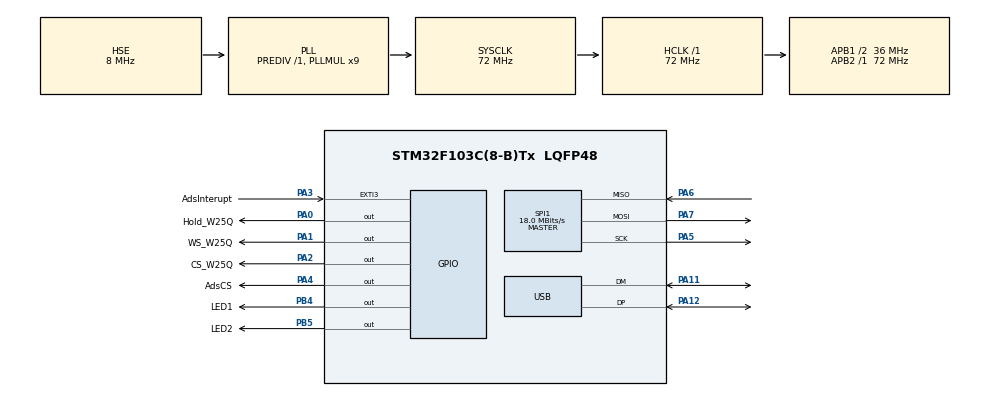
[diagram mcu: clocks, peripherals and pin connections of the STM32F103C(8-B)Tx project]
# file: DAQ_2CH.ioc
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ADC1.Channel-0\#ChannelRegularConversion=ADC_CHANNEL_TEMPSENSOR
ADC1.NbrOfConversionFlag=1
ADC1.Rank-0\#ChannelRegularConversion=1
ADC1.SamplingTime-0\#ChannelRegularConversion=ADC_SAMPLETIME_1CYCLE_5
ADC1.master=1
Dma.Request0=SPI1_TX
Dma.SPI1_TX.0.Direction=DMA_MEMORY_TO_PERIPH
Dma.SPI1_TX.0.Instance=DMA1_Channel3
Dma.SPI1_TX.0.MemDataAlignment=DMA_MDATAALIGN_BYTE
Dma.SPI1_TX.0.MemInc=DMA_MINC_ENABLE
Dma.SPI1_TX.0.Mode=DMA_NORMAL
Dma.SPI1_TX.0.PeriphDataAlignment=DMA_PDATAALIGN_BYTE
Dma.SPI1_TX.0.PeriphInc=DMA_PINC_DISABLE
Dma.SPI1_TX.0.Priority=DMA_PRIORITY_LOW
FATFS._FS_TINY=0
FATFS._MAX_SS=4096
Mcu.Family=STM32F1
Mcu.Name=STM32F103C(8-B)Tx
Mcu.Package=LQFP48
NVIC.DMA1_Channel3_IRQn=true\:0\:0\:false\:false\:true\:false\:true\:true
NVIC.PriorityGroup=NVIC_PRIORITYGROUP_4
NVIC.USB_LP_CAN1_RX0_IRQn=true\:0\:0\:false\:false\:true\:false\:true\:true
PA0-WKUP.GPIO_Label=Hold_W25Q
PA0-WKUP.PinState=GPIO_PIN_SET
PA0-WKUP.Signal=GPIO_Output
PA1.GPIO_Label=WS_W25Q
PA1.PinState=GPIO_PIN_SET
PA1.Signal=GPIO_Output
PA11.Mode=Device
PA11.Signal=USB_DM
PA12.Mode=Device
PA12.Signal=USB_DP
PA13.Mode=Serial_Wire
PA13.Signal=SYS_JTMS-SWDIO
PA14.Mode=Serial_Wire
PA14.Signal=SYS_JTCK-SWCLK
PA2.GPIO_Label=CS_W25Q
PA2.PinState=GPIO_PIN_SET
PA2.Signal=GPIO_Output
PA3.GPIO_Label=AdsInterupt
PA3.Signal=GPXTI3
PA4.GPIO_Label=AdsCS
PA4.PinState=GPIO_PIN_SET
PA4.Signal=GPIO_Output
PA5.Mode=Full_Duplex_Master
PA5.Signal=SPI1_SCK
PA6.Mode=Full_Duplex_Master
PA6.Signal=SPI1_MISO
PA7.Mode=Full_Duplex_Master
PA7.Signal=SPI1_MOSI
PB4.GPIO_Label=LED1
PB4.Signal=GPIO_Output
PB5.GPIO_Label=LED2
PB5.Signal=GPIO_Output
PD0-OSC_IN.Mode=HSE-External-Oscillator
PD0-OSC_IN.Signal=RCC_OSC_IN
PD1-OSC_OUT.Mode=HSE-External-Oscillator
PD1-OSC_OUT.Signal=RCC_OSC_OUT
ProjectManager.HeapSize=0x200
ProjectManager.StackSize=0x400
ProjectManager.TargetToolchain=STM32CubeIDE
RCC.ADCPresc=RCC_ADCPCLK2_DIV6
RCC.AHBFreq_Value=72000000
RCC.APB1CLKDivider=RCC_HCLK_DIV2
RCC.APB1Freq_Value=36000000
RCC.APB1TimFreq_Value=72000000
RCC.APB2Freq_Value=72000000
RCC.APB2TimFreq_Value=72000000
RCC.HCLKFreq_Value=72000000
RCC.PLLMUL=RCC_PLL_MUL9
RCC.SYSCLKFreq_VALUE=72000000
RCC.SYSCLKSource=RCC_SYSCLKSOURCE_PLLCLK
RCC.USBFreq_Value=48000000
RCC.USBPrescaler=RCC_USBCLKSOURCE_PLL_DIV1_5
SPI1.BaudRatePrescaler=SPI_BAUDRATEPRESCALER_4
SPI1.CLKPolarity=SPI_POLARITY_LOW
SPI1.CalculateBaudRate=18.0 MBits/s
SPI1.Direction=SPI_DIRECTION_2LINES
SPI1.Mode=SPI_MODE_MASTER
SPI1.VirtualType=VM_MASTER
USB_DEVICE.CLASS_NAME_FS=MSC
USB_DEVICE.MANUFACTURER_STRING=www.Atro-co.com
USB_DEVICE.PRODUCT_STRING_MSC_FS=Atro DAQ
USB_DEVICE.VirtualMode=Msc
USB_DEVICE.VirtualModeFS=Msc_FS
VP_ADC1_TempSens_Input.Mode=IN-TempSens
VP_FATFS_VS_Generic.Mode=User_defined
VP_USB_DEVICE_VS_USB_DEVICE_MSC_FS.Mode=MSC_FS
board=custom

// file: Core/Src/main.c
/* USER CODE BEGIN Header */
/**
  ******************************************************************************
  * @file           : main.c
  * @brief          : Main program body
  ******************************************************************************
  * @attention
  *
  * Copyright (c) 2023 STMicroelectronics.
  * All rights reserved.
  *
  * This software is licensed under terms that can be found in the LICENSE file
  * in the root directory of this software component.
  * If no LICENSE file comes with this software, it is provided AS-IS.
  *
  ******************************************************************************
  */
/* USER CODE END Header */
#include "main.h"
#include "fatfs.h"
#include "usb_device.h"

/* USER CODE BEGIN Includes */
#include "w25q.h"
/* USER CODE END Includes */

ADC_HandleTypeDef hadc1;

SPI_HandleTypeDef hspi1;
DMA_HandleTypeDef hdma_spi1_tx;

void SystemClock_Config(void);
static void MX_GPIO_Init(void);
static void MX_DMA_Init(void);
static void MX_ADC1_Init(void);
static void MX_SPI1_Init(void);
/* USER CODE BEGIN PFP */
FATFS FatFs;
FRESULT fres;
FIL SFLASHPath[];
char buffer[512];
char str[100] = {"Hello World\0"};
unsigned int bw;
/* USER CODE END PFP */

/* USER CODE BEGIN 0 */
// Special command for deleting a sector
void _w25qEraseSector(uint32_t sector) {
   w25qSetBlockProtect(0x00);
   sector = (sector << 4);  // Отличие

   uint8_t com = W25Q_WRITE_ENABLE;
   uint8_t temp[4] = { W25Q_SECTOR_ERASE_4, (uint8_t) (sector >> 8),
         (uint8_t) (sector & 0x00FF), 0x00 };

   W25Q_CS_LO();
   HAL_SPI_Transmit(W25Q_SPI, &com, 1, 10);
   W25Q_CS_HI();

   W25Q_CS_LO();
   HAL_SPI_Transmit(W25Q_SPI, temp, 4, 10);
   W25Q_CS_HI();

   w25qWaitForReady();

   temp[0] = W25Q_WRRITE_DISABLE;

   W25Q_CS_LO();
   HAL_SPI_Transmit(W25Q_SPI, temp, 1, 10);
   W25Q_CS_HI();

   w25qSetBlockProtect(0x0F);
}
// write via USB - erase the vector, press and write
void w25qWritingByUSB(uint16_t dpagenum, uint8_t *bufByUSB) {

   uint8_t current_sector_buf[4096];
   uint16_t current_sector_addr = dpagenum / 8;
   uint16_t startPage = current_sector_addr * 16;
   int offset = 512 * (dpagenum % 8);

   for (uint16_t i = 0; i < 16; i++) {
      w25qReadPage(current_sector_buf + 256 * i, startPage + i);
   }

   memcpy(current_sector_buf + offset, bufByUSB, 512);

   _w25qEraseSector(current_sector_addr);

   startPage = current_sector_addr * 16;

   for (uint16_t i = 0; i < 16; i++) {
      uint8_t buf[256];
      memcpy(buf, current_sector_buf + i * 256, 256);
      w25qWritePage(buf, startPage + i);
   }
}
/* USER CODE END 0 */

int main(void)
{

  /* MCU Configuration--------------------------------------------------------*/

  /* Reset of all peripherals, Initializes the Flash interface and the Systick. */
  HAL_Init();

  /* Configure the system clock */
  SystemClock_Config();

  /* Initialize all configured peripherals */
  MX_GPIO_Init();
  MX_DMA_Init();
  MX_ADC1_Init();
  MX_SPI1_Init();
  MX_USB_DEVICE_Init();
  MX_FATFS_Init();
  /* USER CODE BEGIN 2 */
  HAL_Delay(100);

      FATFS_LinkDriver(&USER_Driver, SFLASHPath);

      //format drive
      fres = f_mkfs("0:", 0, 4096);

      //Mount drive
      fres = f_mount(&FatFs, "0:", 0);

      if (fres != FR_OK)
      {
        while(1);
      }

      fres = f_open(&SFLASHPath, "0:/test.txt", FA_READ);

  /* USER CODE END 2 */

  /* Infinite loop */
  while (1)
  {

  }
}

void SystemClock_Config(void)
{
  RCC_OscInitTypeDef RCC_OscInitStruct = {0};
  RCC_ClkInitTypeDef RCC_ClkInitStruct = {0};
  RCC_PeriphCLKInitTypeDef PeriphClkInit = {0};

  /** Initializes the RCC Oscillators according to the specified parameters
  * in the RCC_OscInitTypeDef structure.
  */
  RCC_OscInitStruct.OscillatorType = RCC_OSCILLATORTYPE_HSE;
  RCC_OscInitStruct.HSEState = RCC_HSE_ON;
  RCC_OscInitStruct.HSEPredivValue = RCC_HSE_PREDIV_DIV1;
  RCC_OscInitStruct.HSIState = RCC_HSI_ON;
  RCC_OscInitStruct.PLL.PLLState = RCC_PLL_ON;
  RCC_OscInitStruct.PLL.PLLSource = RCC_PLLSOURCE_HSE;
  RCC_OscInitStruct.PLL.PLLMUL = RCC_PLL_MUL9;
  if (HAL_RCC_OscConfig(&RCC_OscInitStruct) != HAL_OK)
  {
    Error_Handler();
  }

  /** Initializes the CPU, AHB and APB buses clocks
  */
  RCC_ClkInitStruct.ClockType = RCC_CLOCKTYPE_HCLK|RCC_CLOCKTYPE_SYSCLK
                              |RCC_CLOCKTYPE_PCLK1|RCC_CLOCKTYPE_PCLK2;
  RCC_ClkInitStruct.SYSCLKSource = RCC_SYSCLKSOURCE_PLLCLK;
  RCC_ClkInitStruct.AHBCLKDivider = RCC_SYSCLK_DIV1;
  RCC_ClkInitStruct.APB1CLKDivider = RCC_HCLK_DIV2;
  RCC_ClkInitStruct.APB2CLKDivider = RCC_HCLK_DIV1;

  if (HAL_RCC_ClockConfig(&RCC_ClkInitStruct, FLASH_LATENCY_2) != HAL_OK)
  {
    Error_Handler();
  }
  PeriphClkInit.PeriphClockSelection = RCC_PERIPHCLK_ADC|RCC_PERIPHCLK_USB;
  PeriphClkInit.AdcClockSelection = RCC_ADCPCLK2_DIV6;
  PeriphClkInit.UsbClockSelection = RCC_USBCLKSOURCE_PLL_DIV1_5;
  if (HAL_RCCEx_PeriphCLKConfig(&PeriphClkInit) != HAL_OK)
  {
    Error_Handler();
  }
}

static void MX_ADC1_Init(void)
{

  ADC_ChannelConfTypeDef sConfig = {0};

  /** Common config
  */
  hadc1.Instance = ADC1;
  hadc1.Init.ScanConvMode = ADC_SCAN_DISABLE;
  hadc1.Init.ContinuousConvMode = DISABLE;
  hadc1.Init.DiscontinuousConvMode = DISABLE;
  hadc1.Init.ExternalTrigConv = ADC_SOFTWARE_START;
  hadc1.Init.DataAlign = ADC_DATAALIGN_RIGHT;
  hadc1.Init.NbrOfConversion = 1;
  if (HAL_ADC_Init(&hadc1) != HAL_OK)
  {
    Error_Handler();
  }

  /** Configure Regular Channel
  */
  sConfig.Channel = ADC_CHANNEL_TEMPSENSOR;
  sConfig.Rank = ADC_REGULAR_RANK_1;
  sConfig.SamplingTime = ADC_SAMPLETIME_1CYCLE_5;
  if (HAL_ADC_ConfigChannel(&hadc1, &sConfig) != HAL_OK)
  {
    Error_Handler();
  }

}

static void MX_SPI1_Init(void)
{

  /* SPI1 parameter configuration*/
  hspi1.Instance = SPI1;
  hspi1.Init.Mode = SPI_MODE_MASTER;
  hspi1.Init.Direction = SPI_DIRECTION_2LINES;
  hspi1.Init.DataSize = SPI_DATASIZE_8BIT;
  hspi1.Init.CLKPolarity = SPI_POLARITY_LOW;
  hspi1.Init.CLKPhase = SPI_PHASE_1EDGE;
  hspi1.Init.NSS = SPI_NSS_SOFT;
  hspi1.Init.BaudRatePrescaler = SPI_BAUDRATEPRESCALER_4;
  hspi1.Init.FirstBit = SPI_FIRSTBIT_MSB;
  hspi1.Init.TIMode = SPI_TIMODE_DISABLE;
  hspi1.Init.CRCCalculation = SPI_CRCCALCULATION_DISABLE;
  hspi1.Init.CRCPolynomial = 10;
  if (HAL_SPI_Init(&hspi1) != HAL_OK)
  {
    Error_Handler();
  }

}

static void MX_DMA_Init(void)
{

  /* DMA controller clock enable */
  __HAL_RCC_DMA1_CLK_ENABLE();

  /* DMA interrupt init */
  /* DMA1_Channel3_IRQn interrupt configuration */
  HAL_NVIC_SetPriority(DMA1_Channel3_IRQn, 0, 0);
  HAL_NVIC_EnableIRQ(DMA1_Channel3_IRQn);

}

static void MX_GPIO_Init(void)
{
  GPIO_InitTypeDef GPIO_InitStruct = {0};

  /* GPIO Ports Clock Enable */
  __HAL_RCC_GPIOD_CLK_ENABLE();
  __HAL_RCC_GPIOA_CLK_ENABLE();
  __HAL_RCC_GPIOB_CLK_ENABLE();

  /*Configure GPIO pin Output Level */
  HAL_GPIO_WritePin(GPIOA, Hold_W25Q_Pin|WS_W25Q_Pin|CS_W25Q_Pin|AdsCS_Pin, GPIO_PIN_SET);

  /*Configure GPIO pin Output Level */
  HAL_GPIO_WritePin(GPIOB, LED1_Pin|LED2_Pin, GPIO_PIN_RESET);

  /*Configure GPIO pins : Hold_W25Q_Pin WS_W25Q_Pin CS_W25Q_Pin AdsCS_Pin */
  GPIO_InitStruct.Pin = Hold_W25Q_Pin|WS_W25Q_Pin|CS_W25Q_Pin|AdsCS_Pin;
  GPIO_InitStruct.Mode = GPIO_MODE_OUTPUT_PP;
  GPIO_InitStruct.Pull = GPIO_NOPULL;
  GPIO_InitStruct.Speed = GPIO_SPEED_FREQ_LOW;
  HAL_GPIO_Init(GPIOA, &GPIO_InitStruct);

  /*Configure GPIO pin : AdsInterupt_Pin */
  GPIO_InitStruct.Pin = AdsInterupt_Pin;
  GPIO_InitStruct.Mode = GPIO_MODE_IT_RISING;
  GPIO_InitStruct.Pull = GPIO_NOPULL;
  HAL_GPIO_Init(AdsInterupt_GPIO_Port, &GPIO_InitStruct);

  /*Configure GPIO pins : LED1_Pin LED2_Pin */
  GPIO_InitStruct.Pin = LED1_Pin|LED2_Pin;
  GPIO_InitStruct.Mode = GPIO_MODE_OUTPUT_PP;
  GPIO_InitStruct.Pull = GPIO_NOPULL;
  GPIO_InitStruct.Speed = GPIO_SPEED_FREQ_LOW;
  HAL_GPIO_Init(GPIOB, &GPIO_InitStruct);

}

/* USER CODE BEGIN 4 */
// Поѿле перегенерации в Кубе добавить USB_Reset(); в функцию MX_GPIO_Init(void) (поѿле ...CLK_ENABLE(); )
void USB_Reset(void)
{

	 GPIO_InitTypeDef GPIO_InitStruct = {0};

	 // инициализируем пин DP как выход
	 GPIO_InitStruct.Pin = GPIO_PIN_12;
	 GPIO_InitStruct.Mode = GPIO_MODE_OUTPUT_PP;
	 GPIO_InitStruct.Speed = GPIO_SPEED_FREQ_LOW;
	 HAL_GPIO_Init(GPIOA, &GPIO_InitStruct);
	 HAL_GPIO_WritePin(GPIOA, GPIO_PIN_12, GPIO_PIN_RESET); // прижимаем DP к "земле"
	 for(uint16_t i = 0; i < 2000; i++) {}; // немного ждём

	 // переинициализируем пин длѿ работы ѿ USB
	 GPIO_InitStruct.Mode = GPIO_MODE_INPUT;
	 GPIO_InitStruct.Pull = GPIO_NOPULL;
	 HAL_GPIO_Init(GPIOA, &GPIO_InitStruct);
	 for(uint16_t i = 0; i < 2000; i++) {}; // немного ждём
}
/* USER CODE END 4 */

void Error_Handler(void)
{
  __disable_irq();
  while (1)
  {
  }
}
